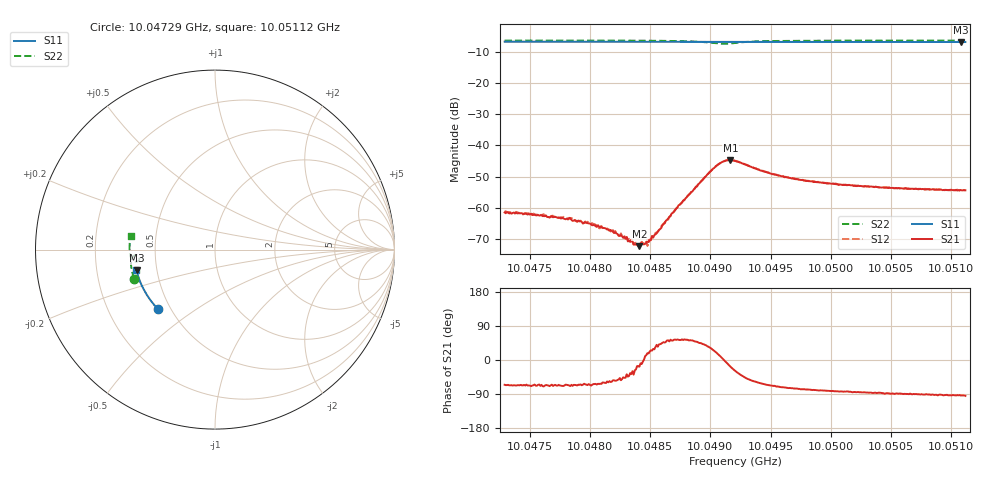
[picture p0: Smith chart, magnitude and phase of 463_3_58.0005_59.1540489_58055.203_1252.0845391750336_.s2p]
#  HZ  S  RI  R  50.00
! Rohde & Schwarz Vector Network Analyzer
! Rohde-Schwarz,ZNB20-2Port,1311601062101988,3.16
! Created: UTC 3/21/2024, 1:11:03 AM
! freq[Hz]  re:S11  im:S11  re:S21  im:S21  re:S12  im:S12  re:S22  im:S22
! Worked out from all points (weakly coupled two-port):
!   401 points, 10.04729 GHz to 10.05112 GHz, reference 50 ohm
!   highest |S21| = -44.74 dB at 10.04917 GHz (marker M1); lowest = -72.3 dB at 10.04841 GHz (marker M2)
!   lowest |S11| = -6.9 dB at 10.05108 GHz (marker M3), VSWR 2.65, Z = 19.1 - j5.52 ohm
!   |S11| at or under -10 dB: nowhere
!   |S22| runs from -7.5 to -6.4 dB; largest |S21 - S12| = 0.00039
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1.0047293e10  -0.3191 -0.3299  0.000349 -0.000764  0.000416 -0.00077  -0.4508 -0.1628
1.0047828e10  -0.3426 -0.3034  0.000269 -0.000634  0.000301 -0.000601  -0.461 -0.1271
1.0047933e10  -0.347 -0.298  0.000235 -0.000543  0.000283 -0.000545  -0.4624 -0.1199
1.0048038e10  -0.3512 -0.2927  0.000236 -0.000469  0.000274 -0.000473  -0.464 -0.1126
1.0048067e10  -0.3524 -0.2912  0.000241 -0.000468  0.000256 -0.000445  -0.4645 -0.1105
1.0048172e10  -0.3567 -0.2857  0.000233 -0.000373  0.000262 -0.000339  -0.4658 -0.1028
1.0048287e10  -0.361 -0.2796  0.000237 -0.000256  0.000244 -0.000221  -0.4668 -0.0942
1.0048383e10  -0.365 -0.2746  0.000234 -0.000108  0.000251 -7.71e-05  -0.4676 -0.0868
1.0048411e10  -0.3659 -0.2729  0.000231 -7.39e-05  0.000267 -3.88e-05  -0.4677 -0.0844
1.0048488e10  -0.3687 -0.269  0.000269 8.39e-05  0.000279 0.000105  -0.4681 -0.0782
1.0048574e10  -0.372 -0.2641  0.000332 0.00029  0.0003 0.000323  -0.468 -0.0709
1.0048736e10  -0.3778 -0.2551  0.000657 0.000879  0.000587 0.000915  -0.4658 -0.0555
1.0049004e10  -0.3866 -0.2399  0.00331 0.002  0.00322 0.00219  -0.4398 -0.0309
1.004909e10  -0.3892 -0.2351  0.00524 0.000679  0.00523 0.00101  -0.4233 -0.0406
1.0049166e10  -0.3917 -0.231  0.00552 -0.00175  0.00567 -0.00139  -0.4245 -0.0593
1.0049205e10  -0.3928 -0.229  0.00495 -0.00267  0.00513 -0.00239  -0.4313 -0.0652
1.004952e10  -0.4027 -0.2106  0.00126 -0.0032  0.00148 -0.00314  -0.4685 -0.0445
1.0049845e10  -0.4117 -0.1913  0.000492 -0.00261  0.00069 -0.00258  -0.4749 -0.0161
1.005018e10  -0.4201 -0.171  0.000196 -0.00229  0.000361 -0.00227  -0.4762 0.00919
1.0050486e10  -0.4268 -0.1521  6.57e-05 -0.00209  0.000175 -0.00209  -0.4753 0.0308
1.0051078e10  -0.4373 -0.1147  -0.000121 -0.00193  -2.49e-05 -0.00191  -0.4708 0.0711
1.0051117e10  -0.4379 -0.1124  -0.000155 -0.0019  -4.15e-05 -0.00189  -0.4704 0.0736
